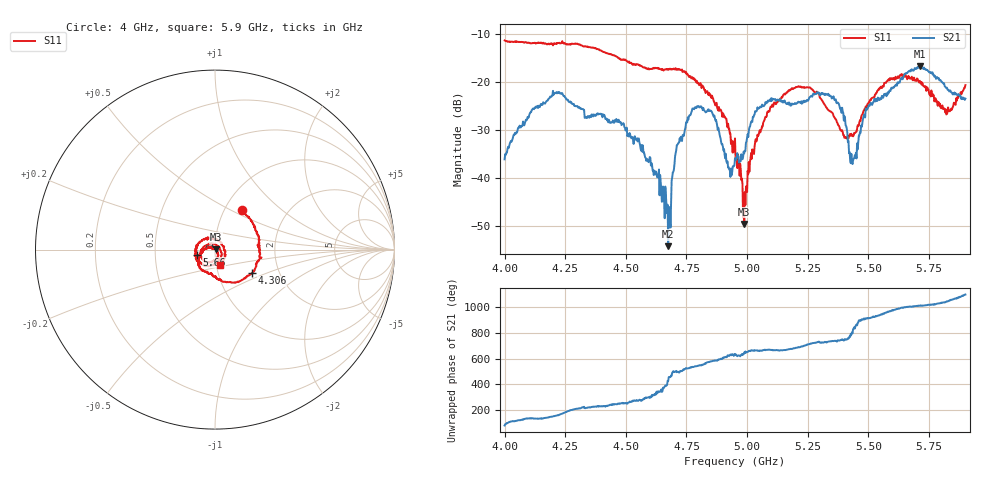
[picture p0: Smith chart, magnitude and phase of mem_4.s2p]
! NanoVNA-App
! Date: 2025-03-07 15:44:28
! Start: 4GHz Stop: 5.9GHz Points: 801
! S-Parameter data: F S11 S21 S12 S22
# Hz S RI R 50
!  Frequency  S11_Real  S11_Imag  S21_Real  S21_Imag  S12_Real  S12_Imag  S22_Real  S22_Imag
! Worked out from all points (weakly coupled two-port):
!   801 points, 4 GHz to 5.9 GHz, reference 50 ohm
!   highest |S21| = -16.86 dB at 5.712 GHz (marker M1); lowest = -54.3 dB at 4.675 GHz (marker M2)
!   lowest |S11| = -49.7 dB at 4.988 GHz (marker M3), VSWR 1.01, Z = 50.3 + j0.143 ohm
!   |S11| at or under -10 dB: start of sweep to end of sweep
!   S12 and S22 are empty: the file has one direction only
!   S11 on the Smith chart (normalised r, x): 4 GHz: 1.21, +0.57; 4.306 GHz: 1.45, -0.40; 5.66 GHz: 0.81, -0.05; 5.9 GHz: 1.04, -0.18
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4e9  0.1517 0.2208  0.00245 0.0153  0 0  0 0
4.20425e9  0.2504 -0.000467  -0.0672 0.0341  0 0  0 0
4.306375e9  0.2042 -0.1313  -0.0454 -0.0302  0 0  0 0
4.31825e9  0.1886 -0.1445  -0.0394 -0.0337  0 0  0 0
4.482125e9  0.0302 -0.1669  -0.00958 -0.0338  0 0  0 0
4.634125e9  -0.0389 -0.1331  0.00948 -0.00309  0 0  0 0
4.6745e9  -0.0502 -0.1224  0.000782 0.00176  0 0  0 0
4.7125e9  -0.0755 -0.1093  -0.0165 0.0145  0 0  0 0
4.78375e9  -0.0901 -0.05  -0.0533 0.000221  0 0  0 0
4.855e9  -0.0709 -0.00647  -0.0363 -0.0314  0 0  0 0
4.95e9  -0.0128 0.0222  0.000964 -0.0159  0 0  0 0
4.988e9  0.00296 0.00142  0.00565 -0.017  0 0  0 0
5.0925e9  0.0111 -0.0476  0.0412 -0.0492  0 0  0 0
5.26825e9  -0.0811 -0.0151  0.0695 0.000667  0 0  0 0
5.38225e9  -0.00459 0.0321  0.0495 0.0203  0 0  0 0
5.4345e9  0.0266 0.00663  0.00308 0.0135  0 0  0 0
5.498625e9  0.0293 -0.0511  -0.0511 -0.0149  0 0  0 0
5.584125e9  -0.0518 -0.0925  -0.0322 -0.0691  0 0  0 0
5.660125e9  -0.1019 -0.028  0.0287 -0.1191  0 0  0 0
5.712375e9  -0.0973 0.0299  0.0531 -0.1334  0 0  0 0
5.826375e9  0.0427 0.021  0.0669 -0.0478  0 0  0 0
5.9e9  0.0283 -0.0874  0.0628 0.0214  0 0  0 0
